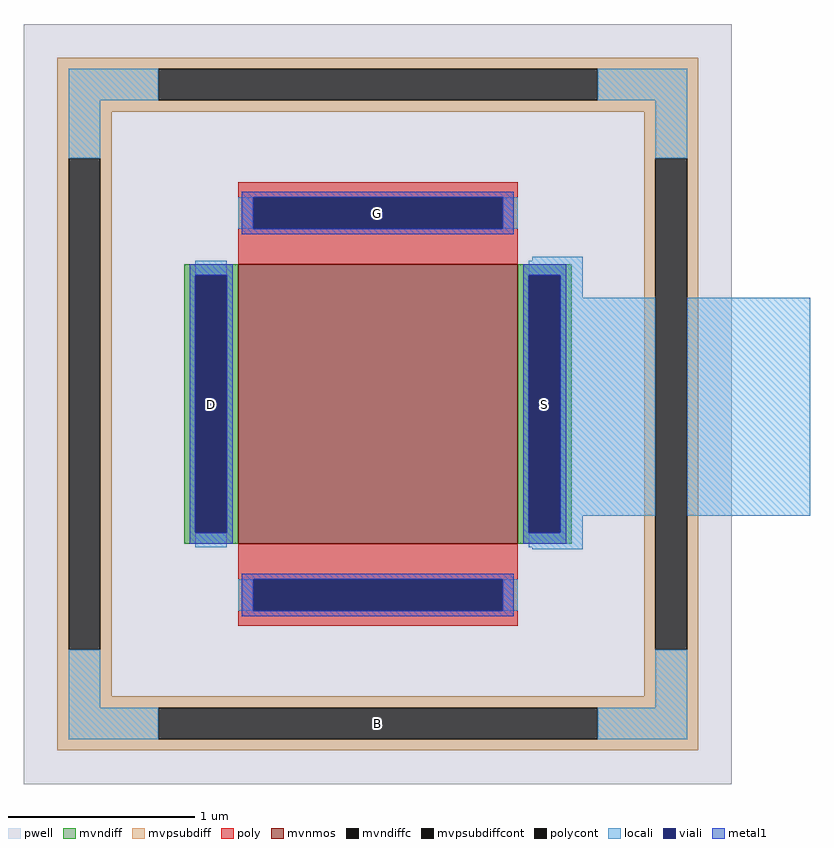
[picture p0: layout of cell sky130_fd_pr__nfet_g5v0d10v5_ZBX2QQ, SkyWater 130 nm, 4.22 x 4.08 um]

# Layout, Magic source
magic
tech sky130A
magscale 1 2
<< pwell >>
rect -380 -408 380 408
<< mvnmos >>
rect -150 -150 150 150
<< mvndiff >>
rect -208 138 -150 150
rect -208 -138 -196 138
rect -162 -138 -150 138
rect -208 -150 -150 -138
rect 150 138 208 150
rect 150 -138 162 138
rect 196 -138 208 138
rect 150 -150 208 -138
<< mvndiffc >>
rect -196 -138 -162 138
rect 162 -138 196 138
<< mvpsubdiff >>
rect -344 360 344 372
rect -344 326 -236 360
rect 236 326 344 360
rect -344 314 344 326
rect -344 264 -286 314
rect -344 -264 -332 264
rect -298 -264 -286 264
rect 286 264 344 314
rect -344 -314 -286 -264
rect 286 -264 298 264
rect 332 -264 344 264
rect 286 -314 344 -264
rect -344 -326 344 -314
rect -344 -360 -236 -326
rect 236 -360 344 -326
rect -344 -372 344 -360
<< mvpsubdiffcont >>
rect -236 326 236 360
rect -332 -264 -298 264
rect 298 -264 332 264
rect -236 -360 236 -326
<< poly >>
rect -150 222 150 238
rect -150 188 -134 222
rect 134 188 150 222
rect -150 150 150 188
rect -150 -188 150 -150
rect -150 -222 -134 -188
rect 134 -222 150 -188
rect -150 -238 150 -222
<< polycont >>
rect -134 188 134 222
rect -134 -222 134 -188
<< locali >>
rect -332 326 -236 360
rect 236 326 332 360
rect -332 264 -298 326
rect 298 264 332 326
rect -150 188 -134 222
rect 134 188 150 222
rect 166 154 220 158
rect -196 138 -162 154
rect -196 -154 -162 -138
rect 162 138 220 154
rect 196 114 220 138
rect 196 -120 298 114
rect 196 -138 220 -120
rect 162 -154 220 -138
rect 166 -156 220 -154
rect -150 -222 -134 -188
rect 134 -222 150 -188
rect -332 -326 -298 -264
rect 332 -120 464 114
rect 298 -326 332 -264
rect -332 -360 -236 -326
rect 236 -360 332 -326
<< viali >>
rect -134 188 134 222
rect -196 -138 -162 138
rect 162 -138 196 138
rect -134 -222 134 -188
<< metal1 >>
rect -146 222 146 228
rect -146 188 -134 222
rect 134 188 146 222
rect -146 182 146 188
rect -202 138 -156 150
rect -202 -138 -196 138
rect -162 -138 -156 138
rect -202 -150 -156 -138
rect 156 138 202 150
rect 156 -138 162 138
rect 196 -138 202 138
rect 156 -150 202 -138
rect -146 -188 146 -182
rect -146 -222 -134 -188
rect 134 -222 146 -188
rect -146 -228 146 -222
<< labels >>
rlabel mvpsubdiffcont 0 -343 0 -343 0 B
port 1 nsew
rlabel mvndiffc -179 0 -179 0 0 D
port 2 nsew
rlabel mvndiffc 179 0 179 0 0 S
port 3 nsew
rlabel polycont 0 205 0 205 0 G
port 4 nsew
<< properties >>
string FIXED_BBOX -315 -343 315 343
string gencell sky130_fd_pr__nfet_g5v0d10v5
string library sky130
string parameters w 1.5 l 1.5 m 1 nf 1 diffcov 100 polycov 100 guard 1 glc 1 grc 1 gtc 1 gbc 1 tbcov 100 rlcov 100 topc 1 botc 1 poverlap 0 doverlap 1 lmin 0.50 wmin 0.42 class mosfet compatible {sky130_fd_pr__nfet_01v8 sky130_fd_pr__nfet_01v8_lvt  sky130_fd_bs_flash__special_sonosfet_star  sky130_fd_pr__nfet_g5v0d10v5 sky130_fd_pr__nfet_05v0_nvt  sky130_fd_pr__nfet_03v3_nvt} full_metal 1 conn_gates 0 viasrc 100 viadrn 100 viagate 100 viagb 0 viagr 0 viagl 0 viagt 0 doports 1
<< end >>
